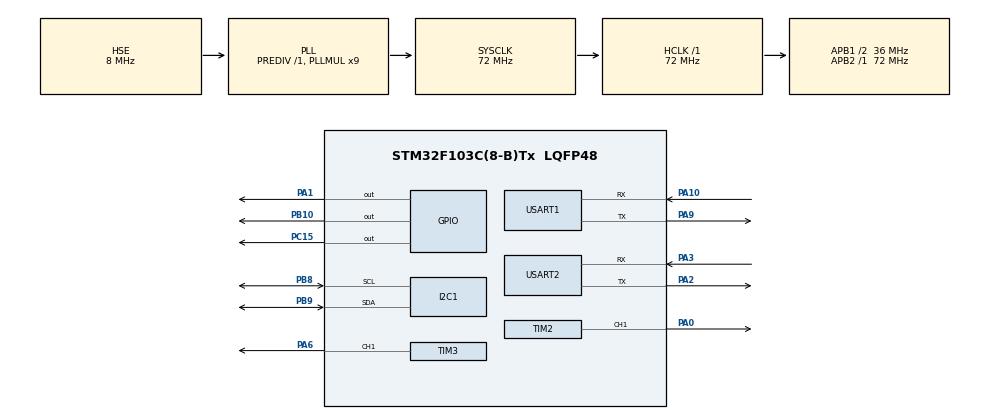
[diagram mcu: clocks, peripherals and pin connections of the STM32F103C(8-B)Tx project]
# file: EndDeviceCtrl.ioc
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Mcu.Family=STM32F1
Mcu.Name=STM32F103C(8-B)Tx
Mcu.Package=LQFP48
NVIC.PriorityGroup=NVIC_PRIORITYGROUP_4
NVIC.USART1_IRQn=true\:0\:0\:false\:false\:true\:true\:true\:true
NVIC.USART2_IRQn=true\:0\:0\:false\:false\:true\:true\:true\:true
PA0-WKUP.Signal=S_TIM2_CH1_ETR
PA1.PinState=GPIO_PIN_SET
PA1.Signal=GPIO_Output
PA10.Mode=Asynchronous
PA10.Signal=USART1_RX
PA2.Mode=Asynchronous
PA2.Signal=USART2_TX
PA3.Mode=Asynchronous
PA3.Signal=USART2_RX
PA6.Signal=S_TIM3_CH1
PA9.Mode=Asynchronous
PA9.Signal=USART1_TX
PB10.Signal=GPIO_Output
PB8.Mode=I2C
PB8.Signal=I2C1_SCL
PB9.Mode=I2C
PB9.Signal=I2C1_SDA
PC15-OSC32_OUT.Signal=GPIO_Output
PD0-OSC_IN.Mode=HSE-External-Oscillator
PD0-OSC_IN.Signal=RCC_OSC_IN
PD1-OSC_OUT.Mode=HSE-External-Oscillator
PD1-OSC_OUT.Signal=RCC_OSC_OUT
ProjectManager.HeapSize=0x200
ProjectManager.StackSize=0x400
ProjectManager.TargetToolchain=MDK-ARM V5.32
RCC.AHBFreq_Value=72000000
RCC.APB1CLKDivider=RCC_HCLK_DIV2
RCC.APB1Freq_Value=36000000
RCC.APB1TimFreq_Value=72000000
RCC.APB2Freq_Value=72000000
RCC.APB2TimFreq_Value=72000000
RCC.HCLKFreq_Value=72000000
RCC.PLLMUL=RCC_PLL_MUL9
RCC.PLLSourceVirtual=RCC_PLLSOURCE_HSE
RCC.SYSCLKFreq_VALUE=72000000
RCC.SYSCLKSource=RCC_SYSCLKSOURCE_PLLCLK
RCC.USBFreq_Value=72000000
SH.S_TIM2_CH1_ETR.0=TIM2_CH1,PWM Generation1 CH1
SH.S_TIM3_CH1.0=TIM3_CH1,PWM Generation1 CH1
TIM1.Prescaler=71
TIM2.Channel-PWM\ Generation1\ CH1=TIM_CHANNEL_1
TIM2.Period=999
TIM2.Prescaler=71
TIM2.Pulse-PWM\ Generation1\ CH1=0
TIM3.Channel-PWM\ Generation1\ CH1=TIM_CHANNEL_1
TIM3.Period=1999
TIM3.Prescaler=719
USART1.VirtualMode=VM_ASYNC
USART2.VirtualMode=VM_ASYNC
VP_SYS_VS_ND.Mode=No_Debug
VP_TIM1_VS_ClockSourceINT.Mode=Internal
VP_TIM2_VS_ClockSourceINT.Mode=Internal
VP_TIM3_VS_ClockSourceINT.Mode=Internal
board=custom

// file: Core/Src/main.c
/* USER CODE BEGIN Header */
/**
  ******************************************************************************
  * @file           : main.c
  * @brief          : Main program body
  ******************************************************************************
  * @attention
  *
  * Copyright (c) 2025 STMicroelectronics.
  * All rights reserved.
  *
  * This software is licensed under terms that can be found in the LICENSE file
  * in the root directory of this software component.
  * If no LICENSE file comes with this software, it is provided AS-IS.
  *
  ******************************************************************************
  */

#include <stdio.h>
#include <string.h>
#include "dht11.h"

/* USER CODE END Header */
#include "main.h"
#include "i2c.h"
#include "tim.h"
#include "usart.h"
#include "gpio.h"

/* USER CODE BEGIN PV */
volatile uint8_t cmd_pc;
/* USER CODE END PV */

void SystemClock_Config(void);

int main(void)
{

  /* MCU Configuration--------------------------------------------------------*/

  /* Reset of all peripherals, Initializes the Flash interface and the Systick. */
  HAL_Init();

  /* Configure the system clock */
  SystemClock_Config();

  /* Initialize all configured peripherals */
  MX_GPIO_Init();
  MX_I2C1_Init();
  MX_TIM2_Init();
  MX_USART1_UART_Init();
  MX_USART2_UART_Init();
  MX_TIM3_Init();
  MX_TIM1_Init();
  /* USER CODE BEGIN 2 */
	HAL_TIM_PWM_Start(&htim3, TIM_CHANNEL_1);
	HAL_TIM_PWM_Start(&htim2, TIM_CHANNEL_1);

	HAL_UART_Receive_IT(&huart1, (uint8_t*)&cmd_pc, sizeof(cmd_pc));

  /* USER CODE END 2 */

  /* Infinite loop */
  /* USER CODE BEGIN WHILE */

	char upload_data[100];
	float temp;
	uint8_t humi;

	HAL_Delay(1000);

  while (1)
  {
		// 周期性上报传感器数据和设备状态

		if(DHT11_Get(&temp, &humi) == 0)
		{
			// 采集温湿度成功
			sprintf(upload_data, "DHT11_1:%.1f_%u\n", temp, humi);

			HAL_UART_Transmit(&huart1, (uint8_t*)upload_data, strlen(upload_data), 1000);
		}

		if(HAL_GPIO_ReadPin(GPIOB, GPIO_PIN_10) == GPIO_PIN_SET)
			sprintf(upload_data, "BEEP1:1\n");
		else
			sprintf(upload_data, "BEEP1:0\n");

		HAL_UART_Transmit(&huart1, (uint8_t*)upload_data, strlen(upload_data), 1000);

		if(HAL_GPIO_ReadPin(GPIOA, GPIO_PIN_1) == GPIO_PIN_SET)
			sprintf(upload_data, "LED2:0\n");
		else
			sprintf(upload_data, "LED2:1\n");

		HAL_UART_Transmit(&huart1, (uint8_t*)upload_data, strlen(upload_data), 1000);

		HAL_Delay(1500);

    /* USER CODE END WHILE */

  }
}

void SystemClock_Config(void)
{
  RCC_OscInitTypeDef RCC_OscInitStruct = {0};
  RCC_ClkInitTypeDef RCC_ClkInitStruct = {0};

  /** Initializes the RCC Oscillators according to the specified parameters
  * in the RCC_OscInitTypeDef structure.
  */
  RCC_OscInitStruct.OscillatorType = RCC_OSCILLATORTYPE_HSE;
  RCC_OscInitStruct.HSEState = RCC_HSE_ON;
  RCC_OscInitStruct.HSEPredivValue = RCC_HSE_PREDIV_DIV1;
  RCC_OscInitStruct.HSIState = RCC_HSI_ON;
  RCC_OscInitStruct.PLL.PLLState = RCC_PLL_ON;
  RCC_OscInitStruct.PLL.PLLSource = RCC_PLLSOURCE_HSE;
  RCC_OscInitStruct.PLL.PLLMUL = RCC_PLL_MUL9;
  if (HAL_RCC_OscConfig(&RCC_OscInitStruct) != HAL_OK)
  {
    Error_Handler();
  }

  /** Initializes the CPU, AHB and APB buses clocks
  */
  RCC_ClkInitStruct.ClockType = RCC_CLOCKTYPE_HCLK|RCC_CLOCKTYPE_SYSCLK
                              |RCC_CLOCKTYPE_PCLK1|RCC_CLOCKTYPE_PCLK2;
  RCC_ClkInitStruct.SYSCLKSource = RCC_SYSCLKSOURCE_PLLCLK;
  RCC_ClkInitStruct.AHBCLKDivider = RCC_SYSCLK_DIV1;
  RCC_ClkInitStruct.APB1CLKDivider = RCC_HCLK_DIV2;
  RCC_ClkInitStruct.APB2CLKDivider = RCC_HCLK_DIV1;

  if (HAL_RCC_ClockConfig(&RCC_ClkInitStruct, FLASH_LATENCY_2) != HAL_OK)
  {
    Error_Handler();
  }
}

/* USER CODE BEGIN 4 */
void LED_Ctrl(uint16_t led_num, uint16_t cmd, uint16_t arg)
{
	if(led_num == 1)
	{
		if(arg > 1000) arg = 1000;

		__HAL_TIM_SetCompare(&htim2, TIM_CHANNEL_1, arg);
	}
	else if(led_num == 2)
	{
		HAL_GPIO_WritePin(GPIOA, GPIO_PIN_1, cmd == 1 ? GPIO_PIN_RESET : GPIO_PIN_SET);

	}
	else if(led_num == 3)
	{
		HAL_GPIO_WritePin(GPIOC, GPIO_PIN_15, cmd == 0 ? GPIO_PIN_RESET : GPIO_PIN_SET);
	}
}

void Beep_Ctrl(uint16_t beep_num, uint16_t cmd, uint16_t arg)
{
	if(beep_num == 1)
	{
		HAL_GPIO_WritePin(GPIOB, GPIO_PIN_10, cmd == 1 ? GPIO_PIN_SET : GPIO_PIN_RESET);
	}
}

void Servo_Ctrl(uint16_t servo_num, uint16_t cmd, uint16_t arg)
{
	if(servo_num == 1)
	{
		uint16_t pulse_width;

		if(arg > 180) arg = 180;

		pulse_width = (240 - 50) * arg / 180 + 50;

		__HAL_TIM_SetCompare(&htim3, TIM_CHANNEL_1, pulse_width);
	}
}

void HAL_UART_RxCpltCallback(UART_HandleTypeDef *huart)
{
	if(huart == &huart1)
	{
		static uint8_t cmd_total[12] = "", recv_cnt = 0;
		uint16_t dev_type, dev_id, ctrl_cmd, cmd_arg;

		if(recv_cnt == 0)
		{
			if(cmd_pc == 0xA5) cmd_total[recv_cnt++] = 0xA5;
		}
		else if(recv_cnt == 1)
		{
			if(cmd_pc == 0x5A) cmd_total[recv_cnt++] = 0x5A;
			else recv_cnt = 0;
		}
		else if(2 <= recv_cnt && recv_cnt <= 9)
		{
			cmd_total[recv_cnt++] = cmd_pc;
		}
		else if(recv_cnt == 10)
		{
			if(cmd_pc == 0xC3) cmd_total[recv_cnt++] = 0xC3;
			else recv_cnt = 0;
		}
		else if(recv_cnt == 11)
		{
			if(cmd_pc == 0x3C)
			{
				// 成功接收到一条完整的控制指令

				dev_type = ((uint16_t*)cmd_total)[1];
				dev_id = ((uint16_t*)cmd_total)[2];
				ctrl_cmd = ((uint16_t*)cmd_total)[3];
				cmd_arg = ((uint16_t*)cmd_total)[4];

				if(dev_type == 1)
				{
					// LED
					LED_Ctrl(dev_id, ctrl_cmd, cmd_arg);
				}
				else if(dev_type == 2)
				{
					// 蜂鸣器
					Beep_Ctrl(dev_id, ctrl_cmd, cmd_arg);
				}
				else if(dev_type == 4)
				{
					// 舵机
					Servo_Ctrl(dev_id, ctrl_cmd, cmd_arg);
				}
			}

			recv_cnt = 0;
		}

//		if(cmd_pc == 'a')
//		{
//			// 开灯
//			HAL_GPIO_WritePin(GPIOA, GPIO_PIN_1, GPIO_PIN_RESET);
//			HAL_GPIO_WritePin(GPIOC, GPIO_PIN_15, GPIO_PIN_SET);
//		}
//		else if(cmd_pc == 'b')
//		{
//			// 关灯
//			HAL_GPIO_WritePin(GPIOA, GPIO_PIN_1, GPIO_PIN_SET);
//			HAL_GPIO_WritePin(GPIOC, GPIO_PIN_15, GPIO_PIN_RESET);
//		}
//		else if(cmd_pc == 'c')
//		{
//			// 报警
//			HAL_GPIO_WritePin(GPIOB, GPIO_PIN_10, GPIO_PIN_SET);
//		}
//		else if(cmd_pc == 'd')
//		{
//			// 静音
//			HAL_GPIO_WritePin(GPIOB, GPIO_PIN_10, GPIO_PIN_RESET);
//		}

		// 用中断的方式接收一个字节的数据
		HAL_UART_Receive_IT(&huart1, (uint8_t*)&cmd_pc, sizeof(cmd_pc));
	}
}
/* USER CODE END 4 */

void Error_Handler(void)
{
  __disable_irq();
  while (1)
  {
  }
}
